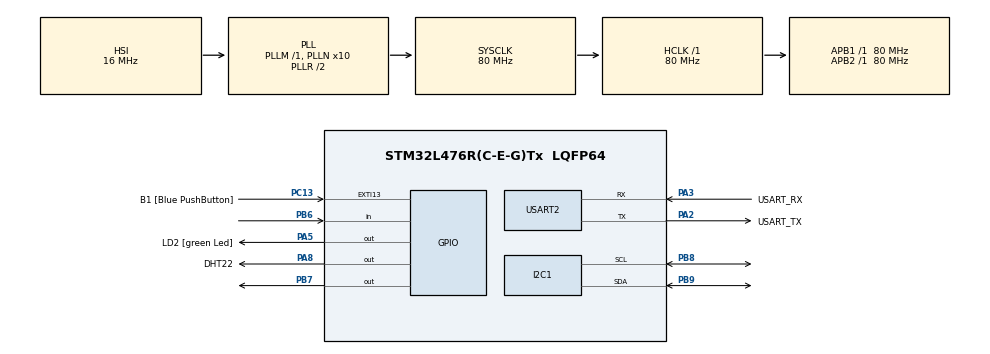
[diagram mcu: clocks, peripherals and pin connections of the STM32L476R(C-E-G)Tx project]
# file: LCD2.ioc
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I2C1.Timing=0x10909CEC
Mcu.Family=STM32L4
Mcu.Name=STM32L476R(C-E-G)Tx
Mcu.Package=LQFP64
NVIC.PriorityGroup=NVIC_PRIORITYGROUP_4
PA13\ (JTMS-SWDIO).GPIO_Label=TMS
PA13\ (JTMS-SWDIO).Mode=Serial_Wire
PA13\ (JTMS-SWDIO).Signal=SYS_JTMS-SWDIO
PA14\ (JTCK-SWCLK).GPIO_Label=TCK
PA14\ (JTCK-SWCLK).Mode=Serial_Wire
PA14\ (JTCK-SWCLK).Signal=SYS_JTCK-SWCLK
PA2.GPIO_Label=USART_TX
PA2.GPIO_Mode=GPIO_MODE_AF_PP
PA2.GPIO_PuPd=GPIO_NOPULL
PA2.GPIO_Speed=GPIO_SPEED_FREQ_VERY_HIGH
PA2.Mode=Asynchronous
PA2.Signal=USART2_TX
PA3.GPIO_Label=USART_RX
PA3.GPIO_Mode=GPIO_MODE_AF_PP
PA3.GPIO_PuPd=GPIO_NOPULL
PA3.GPIO_Speed=GPIO_SPEED_FREQ_VERY_HIGH
PA3.Mode=Asynchronous
PA3.Signal=USART2_RX
PA5.GPIO_Label=LD2 [green Led]
PA5.GPIO_ModeDefaultOutputPP=GPIO_MODE_OUTPUT_PP
PA5.GPIO_PuPd=GPIO_NOPULL
PA5.GPIO_Speed=GPIO_SPEED_FREQ_LOW
PA5.PinState=GPIO_PIN_RESET
PA5.Signal=GPIO_Output
PA8.GPIO_Label=DHT22
PA8.Signal=GPIO_Output
PB3\ (JTDO-TRACESWO).GPIO_Label=SWO
PB3\ (JTDO-TRACESWO).Signal=SYS_JTDO-SWO
PB6.Signal=GPIO_Input
PB7.Signal=GPIO_Output
PB8.Mode=I2C
PB8.Signal=I2C1_SCL
PB9.Mode=I2C
PB9.Signal=I2C1_SDA
PC13.GPIO_Label=B1 [Blue PushButton]
PC13.GPIO_ModeDefaultEXTI=GPIO_MODE_IT_FALLING
PC13.GPIO_PuPd=GPIO_NOPULL
PC13.Signal=GPXTI13
PC14-OSC32_IN\ (PC14).Mode=LSE-External-Oscillator
PC14-OSC32_IN\ (PC14).Signal=RCC_OSC32_IN
PC15-OSC32_OUT\ (PC15).Mode=LSE-External-Oscillator
PC15-OSC32_OUT\ (PC15).Signal=RCC_OSC32_OUT
PH0-OSC_IN\ (PH0).Signal=RCC_OSC_IN
PH1-OSC_OUT\ (PH1).Signal=RCC_OSC_OUT
ProjectManager.HeapSize=0x200
ProjectManager.StackSize=0x400
ProjectManager.TargetToolchain=STM32CubeIDE
RCC.ADCFreq_Value=64000000
RCC.AHBFreq_Value=80000000
RCC.APB1Freq_Value=80000000
RCC.APB1TimFreq_Value=80000000
RCC.APB2Freq_Value=80000000
RCC.APB2TimFreq_Value=80000000
RCC.CortexFreq_Value=80000000
RCC.HCLKFreq_Value=80000000
RCC.HSE_VALUE=8000000
RCC.HSI_VALUE=16000000
RCC.MSI_VALUE=4000000
RCC.PLLN=10
RCC.PLLSourceVirtual=RCC_PLLSOURCE_HSI
RCC.PREFETCH_ENABLE=1
RCC.SYSCLKFreq_VALUE=80000000
RCC.SYSCLKSource=RCC_SYSCLKSOURCE_PLLCLK
RCC.USBFreq_Value=64000000
RCC.VCOOutputFreq_Value=160000000
TIM3.Prescaler=80-1
USART2.VirtualMode-Asynchronous=VM_ASYNC
VP_TIM3_VS_ClockSourceINT.Mode=Internal
board=NUCLEO-L476RG

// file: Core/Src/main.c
/* USER CODE BEGIN Header */
/**
  ******************************************************************************
  * @file           : main.c
  * @brief          : Main program body
  ******************************************************************************
  * @attention
  *
  * Copyright (c) 2023 STMicroelectronics.
  * All rights reserved.
  *
  * This software is licensed under terms that can be found in the LICENSE file
  * in the root directory of this software component.
  * If no LICENSE file comes with this software, it is provided AS-IS.
  *
  ******************************************************************************
  */
/* USER CODE END Header */
#include "main.h"
#include "i2c.h"
#include "tim.h"
#include "usart.h"
#include "gpio.h"
#include "DHT.h"

#include <stdio.h>

/* USER CODE BEGIN Includes */
#include "lib_lcd.h"

/* USER CODE END Includes */

/* USER CODE BEGIN PTD */
static rgb_lcd lcdData;

/* USER CODE END PTD */

//DHT22_TypeDef dht22;

void SystemClock_Config(void);
//static void MX_GPIO_Init(void);

/* USER CODE BEGIN 0 */

/*void delay (uint16_t delay)
{
	__HAL_TIM_SET_COUNTER (&htim3, 0);
	while ((__HAL_TIM_GET_COUNTER(&htim3)) < delay);

}*/
/*
void Display_Temp (float Temp)
{
	char str[20] = {0};
	lcd_put_cur(0,0);

	sprintf(str,"TEMP:- %.2f ", Temp);
	lcd_send_string(str);
	lcd_send_data('C');
}*/

/*uint8_t Rh_byte1, Rh_byte2, Temp_byte1, Temp_byte2;
uint16_t SUM, RH = 0, TEMP = 0;

//DHT_DataTypedef DHT22_Data;
float Temperature, Humidity;
uint8_t Presence = 0;*/

float Temperature = 0, Humidite = 0;
uint16_t RH = 0, TEMP = 0;
uint8_t dataH1;
uint8_t dataH2;
uint8_t dataT1;
uint8_t dataT2;
uint8_t SUM;
char bufRH[20]; //pour stocker une valeur et l'afficher sur le LCD
char bufT[20];  //pour stocker une valeur et l'afficher sur le LCD

/* USER CODE END 0 */

int main(void)
{
  /* USER CODE BEGIN 1 */
int k = 0; //variable de boucle

  /* USER CODE END 1 */

  /* MCU Configuration--------------------------------------------------------*/

  /* Reset of all peripherals, Initializes the Flash interface and the Systick. */
  HAL_Init();

  /* Configure the system clock */
  SystemClock_Config();

  /* Initialize all configured peripherals */
  MX_GPIO_Init();
  MX_USART2_UART_Init();
  MX_I2C1_Init();
  MX_TIM3_Init();
  /* USER CODE BEGIN 2 */
  HAL_TIM_Base_Start(&htim3);
lcd_init(&hi2c1, &lcdData);
lcd_position(&hi2c1,0,0);
lcd_print(&hi2c1, "Bienvenue");//on affiche une chaîne de caractère à l'allumage
HAL_Delay(2000);//attente
clearlcd(); //on efface

  /* USER CODE END 2 */

  /* Infinite loop */
  while (1)
  {

    /* USER CODE BEGIN 3 */
	//initialisation

	  	  Data_Output(GPIOA, GPIO_PIN_8); //on définit la broche comme sortie
	  	  HAL_GPIO_WritePin(GPIOA, GPIO_PIN_8, GPIO_PIN_RESET); //On tire la broche vers le bas
	  	  delay(1200); //on attend environ minimum 1 ms
	  	  HAL_GPIO_WritePin(GPIOA, GPIO_PIN_8, GPIO_PIN_SET); //On tire la broche vers le haut
	  	  delay(30); //on attend 30 us
	  	  Data_Input(GPIOA, GPIO_PIN_8); //on définit la broche comme entrée pour recevoir les données

	  	  /*commence la reception de donnees*/

	  	  while(!(HAL_GPIO_ReadPin(GPIOA, GPIO_PIN_8)));

	  	  for (k=0;k<1000;k++)
	  	  {
	  		  if (HAL_GPIO_ReadPin (GPIOA, GPIO_PIN_8) == GPIO_PIN_RESET)//si le pin est en mode haut
	  		  {
	  	  	  	break;
	  	  	  }
	  	  }

	  	  while(!(HAL_GPIO_ReadPin(GPIOA, GPIO_PIN_8))); //on attend que le pin passe en mode haut
	  	  delay(40);//on attend 40 us

	  	  Read_data(&dataH1); //on récupère les adresses stockées
	  	  Read_data(&dataH2);
	  	  Read_data(&dataT1);
	  	  Read_data(&dataT2);
	  	  Read_data(&SUM);

//Affichage
	  	  if (SUM==((dataH1+dataH2+dataT1+dataT2) & 0x00FF))
	  	  {
	  	 Humidite = (((dataH1<<8) | dataH2)*0.1f);
	  	 Temperature = (((dataT1<<8) | dataT2)*0.1f);
	  	  }

	  	  HAL_GPIO_WritePin(GPIOA, GPIO_PIN_8, GPIO_PIN_SET); //on repasse la broche à haut pour la prochaine lecture

	  	  /*commence transmission vers LCD*/
	  	  clearlcd();
	  	  sprintf(bufRH,"Humidite: %.1f %", Humidite);
	  	  sprintf(bufT, "Temp.: %.1f C", Temperature);
	  	  lcd_position(&hi2c1,0,0);
	  	  lcd_print(&hi2c1,bufRH);
	  	  lcd_position(&hi2c1,0,1);
	  	  lcd_print(&hi2c1,bufT);
	  	  reglagecouleur(0,0,255);

  }
  /* USER CODE END 3 */
}

void SystemClock_Config(void)
{
  RCC_OscInitTypeDef RCC_OscInitStruct = {0};
  RCC_ClkInitTypeDef RCC_ClkInitStruct = {0};

  /** Configure the main internal regulator output voltage
  */
  if (HAL_PWREx_ControlVoltageScaling(PWR_REGULATOR_VOLTAGE_SCALE1) != HAL_OK)
  {
    Error_Handler();
  }

  /** Initializes the RCC Oscillators according to the specified parameters
  * in the RCC_OscInitTypeDef structure.
  */
  RCC_OscInitStruct.OscillatorType = RCC_OSCILLATORTYPE_HSI;
  RCC_OscInitStruct.HSIState = RCC_HSI_ON;
  RCC_OscInitStruct.HSICalibrationValue = RCC_HSICALIBRATION_DEFAULT;
  RCC_OscInitStruct.PLL.PLLState = RCC_PLL_ON;
  RCC_OscInitStruct.PLL.PLLSource = RCC_PLLSOURCE_HSI;
  RCC_OscInitStruct.PLL.PLLM = 1;
  RCC_OscInitStruct.PLL.PLLN = 10;
  RCC_OscInitStruct.PLL.PLLP = RCC_PLLP_DIV7;
  RCC_OscInitStruct.PLL.PLLQ = RCC_PLLQ_DIV2;
  RCC_OscInitStruct.PLL.PLLR = RCC_PLLR_DIV2;
  if (HAL_RCC_OscConfig(&RCC_OscInitStruct) != HAL_OK)
  {
    Error_Handler();
  }

  /** Initializes the CPU, AHB and APB buses clocks
  */
  RCC_ClkInitStruct.ClockType = RCC_CLOCKTYPE_HCLK|RCC_CLOCKTYPE_SYSCLK
                              |RCC_CLOCKTYPE_PCLK1|RCC_CLOCKTYPE_PCLK2;
  RCC_ClkInitStruct.SYSCLKSource = RCC_SYSCLKSOURCE_PLLCLK;
  RCC_ClkInitStruct.AHBCLKDivider = RCC_SYSCLK_DIV1;
  RCC_ClkInitStruct.APB1CLKDivider = RCC_HCLK_DIV1;
  RCC_ClkInitStruct.APB2CLKDivider = RCC_HCLK_DIV1;

  if (HAL_RCC_ClockConfig(&RCC_ClkInitStruct, FLASH_LATENCY_4) != HAL_OK)
  {
    Error_Handler();
  }
}

void Error_Handler(void)
{
  __disable_irq();
  while (1)
  {
  }
}
